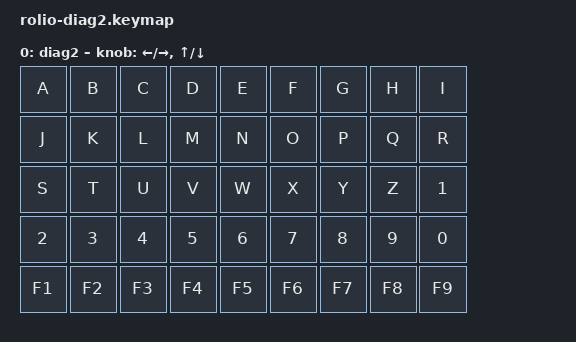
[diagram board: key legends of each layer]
// -*- mode: dts -*-
/*
 * Rolio "supermatrix" diagnostic. NOT a usable layout.
 *
 * Scans EVERY column pin named by any vendor branch (choc2-* and main/choc1),
 * plus every candidate row pin, as one 9x5 matrix. Pins that aren't wired
 * simply never fire, so a single pass identifies each physical key's true
 * (row, col) with no guessing about which branch describes this hardware.
 *
 *   cols 0-8 : P1.02 P0.07 P0.04 P1.09 P0.05 P1.04 P0.09 P0.08 P0.24
 *   rows 0-4 : P0.31 P0.29 P0.02 P0.28 P1.13
 *
 * P0.28 is the underglow power PWM in the normal build, so pwm0 is disabled
 * here to free it as a row.
 *
 * Expected output, row by row:
 *   row0  a b c d e f g h i
 *   row1  j k l m n o p q r
 *   row2  s t u v w x y z 1
 *   row3  2 3 4 5 6 7 8 9 0
 *   row4  F1 F2 F3 F4 F5 F6 F7 F8 F9
 */

#include <behaviors.dtsi>
#include <dt-bindings/zmk/keys.h>
#include <dt-bindings/zmk/matrix_transform.h>
#include <physical_layouts.dtsi>

/ {
    chosen {
        zmk,physical-layout = &diag_layout;
        zmk,kscan = &kscan0;
    };

    diag_transform: diag_transform {
        compatible = "zmk,matrix-transform";
        columns = <9>;
        rows = <5>;
        map = <
RC(0,0) RC(0,1) RC(0,2) RC(0,3) RC(0,4) RC(0,5) RC(0,6) RC(0,7) RC(0,8)
RC(1,0) RC(1,1) RC(1,2) RC(1,3) RC(1,4) RC(1,5) RC(1,6) RC(1,7) RC(1,8)
RC(2,0) RC(2,1) RC(2,2) RC(2,3) RC(2,4) RC(2,5) RC(2,6) RC(2,7) RC(2,8)
RC(3,0) RC(3,1) RC(3,2) RC(3,3) RC(3,4) RC(3,5) RC(3,6) RC(3,7) RC(3,8)
RC(4,0) RC(4,1) RC(4,2) RC(4,3) RC(4,4) RC(4,5) RC(4,6) RC(4,7) RC(4,8)
        >;
    };

    diag_layout: diag_layout {
        compatible = "zmk,physical-layout";
        display-name = "diag";
        kscan = <&kscan0>;
        transform = <&diag_transform>;
        keys
            = <&key_physical_attrs 100 100    0    0 0 0 0>, <&key_physical_attrs 100 100  100    0 0 0 0>
            , <&key_physical_attrs 100 100  200    0 0 0 0>, <&key_physical_attrs 100 100  300    0 0 0 0>
            , <&key_physical_attrs 100 100  400    0 0 0 0>, <&key_physical_attrs 100 100  500    0 0 0 0>
            , <&key_physical_attrs 100 100  600    0 0 0 0>, <&key_physical_attrs 100 100  700    0 0 0 0>
            , <&key_physical_attrs 100 100  800    0 0 0 0>
            , <&key_physical_attrs 100 100    0  100 0 0 0>, <&key_physical_attrs 100 100  100  100 0 0 0>
            , <&key_physical_attrs 100 100  200  100 0 0 0>, <&key_physical_attrs 100 100  300  100 0 0 0>
            , <&key_physical_attrs 100 100  400  100 0 0 0>, <&key_physical_attrs 100 100  500  100 0 0 0>
            , <&key_physical_attrs 100 100  600  100 0 0 0>, <&key_physical_attrs 100 100  700  100 0 0 0>
            , <&key_physical_attrs 100 100  800  100 0 0 0>
            , <&key_physical_attrs 100 100    0  200 0 0 0>, <&key_physical_attrs 100 100  100  200 0 0 0>
            , <&key_physical_attrs 100 100  200  200 0 0 0>, <&key_physical_attrs 100 100  300  200 0 0 0>
            , <&key_physical_attrs 100 100  400  200 0 0 0>, <&key_physical_attrs 100 100  500  200 0 0 0>
            , <&key_physical_attrs 100 100  600  200 0 0 0>, <&key_physical_attrs 100 100  700  200 0 0 0>
            , <&key_physical_attrs 100 100  800  200 0 0 0>
            , <&key_physical_attrs 100 100    0  300 0 0 0>, <&key_physical_attrs 100 100  100  300 0 0 0>
            , <&key_physical_attrs 100 100  200  300 0 0 0>, <&key_physical_attrs 100 100  300  300 0 0 0>
            , <&key_physical_attrs 100 100  400  300 0 0 0>, <&key_physical_attrs 100 100  500  300 0 0 0>
            , <&key_physical_attrs 100 100  600  300 0 0 0>, <&key_physical_attrs 100 100  700  300 0 0 0>
            , <&key_physical_attrs 100 100  800  300 0 0 0>
            , <&key_physical_attrs 100 100    0  400 0 0 0>, <&key_physical_attrs 100 100  100  400 0 0 0>
            , <&key_physical_attrs 100 100  200  400 0 0 0>, <&key_physical_attrs 100 100  300  400 0 0 0>
            , <&key_physical_attrs 100 100  400  400 0 0 0>, <&key_physical_attrs 100 100  500  400 0 0 0>
            , <&key_physical_attrs 100 100  600  400 0 0 0>, <&key_physical_attrs 100 100  700  400 0 0 0>
            , <&key_physical_attrs 100 100  800  400 0 0 0>
            ;
    };

    keymap {
        compatible = "zmk,keymap";
        diag_layer {
            display-name = "diag2";
            bindings = <
&kp A  &kp B  &kp C  &kp D  &kp E  &kp F  &kp G  &kp H  &kp I
&kp J  &kp K  &kp L  &kp M  &kp N  &kp O  &kp P  &kp Q  &kp R
&kp S  &kp T  &kp U  &kp V  &kp W  &kp X  &kp Y  &kp Z  &kp N1
&kp N2 &kp N3 &kp N4 &kp N5 &kp N6 &kp N7 &kp N8 &kp N9 &kp N0
&kp F1 &kp F2 &kp F3 &kp F4 &kp F5 &kp F6 &kp F7 &kp F8 &kp F9
            >;
            sensor-bindings = <&inc_dec_kp LEFT RIGHT &inc_dec_kp UP DOWN>;
        };
    };
};

&kscan0 {
    col-gpios
        = <&gpio1 2 GPIO_ACTIVE_HIGH>
        , <&gpio0 7 GPIO_ACTIVE_HIGH>
        , <&gpio0 4 GPIO_ACTIVE_HIGH>
        , <&gpio1 9 GPIO_ACTIVE_HIGH>
        , <&gpio0 5 GPIO_ACTIVE_HIGH>
        , <&gpio1 4 GPIO_ACTIVE_HIGH>
        , <&gpio0 9 GPIO_ACTIVE_HIGH>
        , <&gpio0 8 GPIO_ACTIVE_HIGH>
        , <&gpio0 24 GPIO_ACTIVE_HIGH>
        ;
    row-gpios
        = <&gpio0 31 (GPIO_ACTIVE_HIGH | GPIO_PULL_DOWN)>
        , <&gpio0 29 (GPIO_ACTIVE_HIGH | GPIO_PULL_DOWN)>
        , <&gpio0 2 (GPIO_ACTIVE_HIGH | GPIO_PULL_DOWN)>
        , <&gpio0 28 (GPIO_ACTIVE_HIGH | GPIO_PULL_DOWN)>
        , <&gpio1 13 (GPIO_ACTIVE_HIGH | GPIO_PULL_DOWN)>
        ;
};

/* Free P0.28 for use as a matrix row. */
&pwm0 { status = "disabled"; };
&underglow_power { status = "disabled"; };
